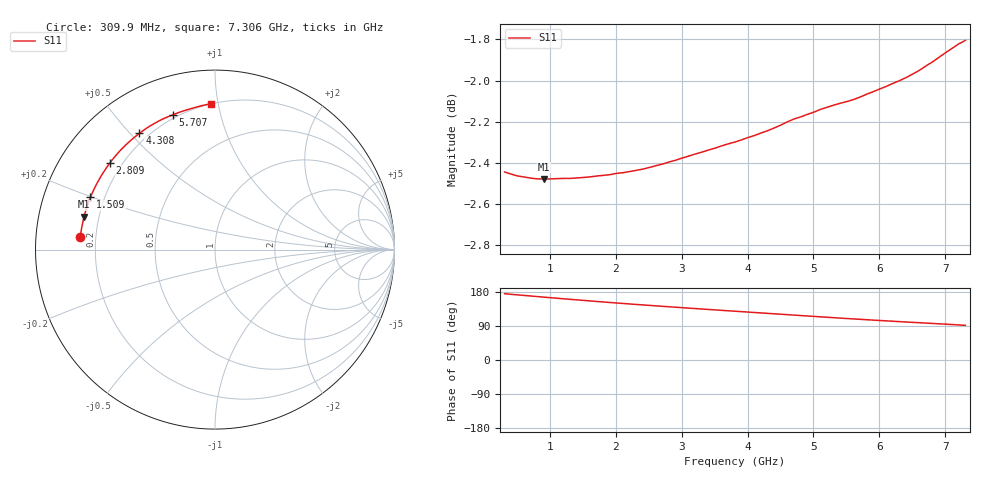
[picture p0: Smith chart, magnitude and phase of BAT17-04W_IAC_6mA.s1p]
! Infineon Technologies  Discrete & RF Semiconductors
! BAT17-04W
! IAC = 6 mA
! One-Port S-Parameters
# Hz  S  MA  R  50
!f  S11
!Hz  Mag  Ang
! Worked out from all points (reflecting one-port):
!   71 points, 309.9 MHz to 7.306 GHz, reference 50 ohm
!   lowest |S11| = -2.5 dB at 909.5 MHz (marker M1), VSWR 7.06, Z = 7.19 + j6.07 ohm
!   phase of S11 starts at 175 deg and turns -83 deg over the sweep
!   S11 on the Smith chart (normalised r, x): 309.9 MHz: 0.14, +0.04; 1.509 GHz: 0.15, +0.20; 2.809 GHz: 0.15, +0.35; 4.308 GHz: 0.17, +0.53; 5.707 GHz: 0.18, +0.72; 7.306 GHz: 0.20, +0.95
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3.0985e8  0.7547 174.9
6.097e8  0.7526 170.3
9.0955e8  0.7518 165.9
1.2094e9  0.752 161.5
1.50925e9  0.7524 157.2
1.8091e9  0.7533 153.1
2.009e9  0.7541 150.4
2.10895e9  0.7544 149.2
2.4088e9  0.7559 145.4
2.70865e9  0.7581 141.6
2.8086e9  0.759 140.5
3.0085e9  0.7607 138.1
3.4083e9  0.7641 133.3
3.6082e9  0.7658 131.0
3.8081e9  0.7675 128.7
4.008e9  0.7694 126.4
4.30785e9  0.7724 123.0
4.70765e9  0.7775 118.4
4.90755e9  0.7794 116.1
5.2074e9  0.7826 112.8
5.4073e9  0.7843 110.5
5.6072e9  0.7859 108.4
5.70715e9  0.787 107.3
6.007e9  0.7906 104.2
6.2069e9  0.7931 102.2
6.50675e9  0.7973 99.3
7.0065e9  0.8068 94.5
7.30635e9  0.8124 91.5
